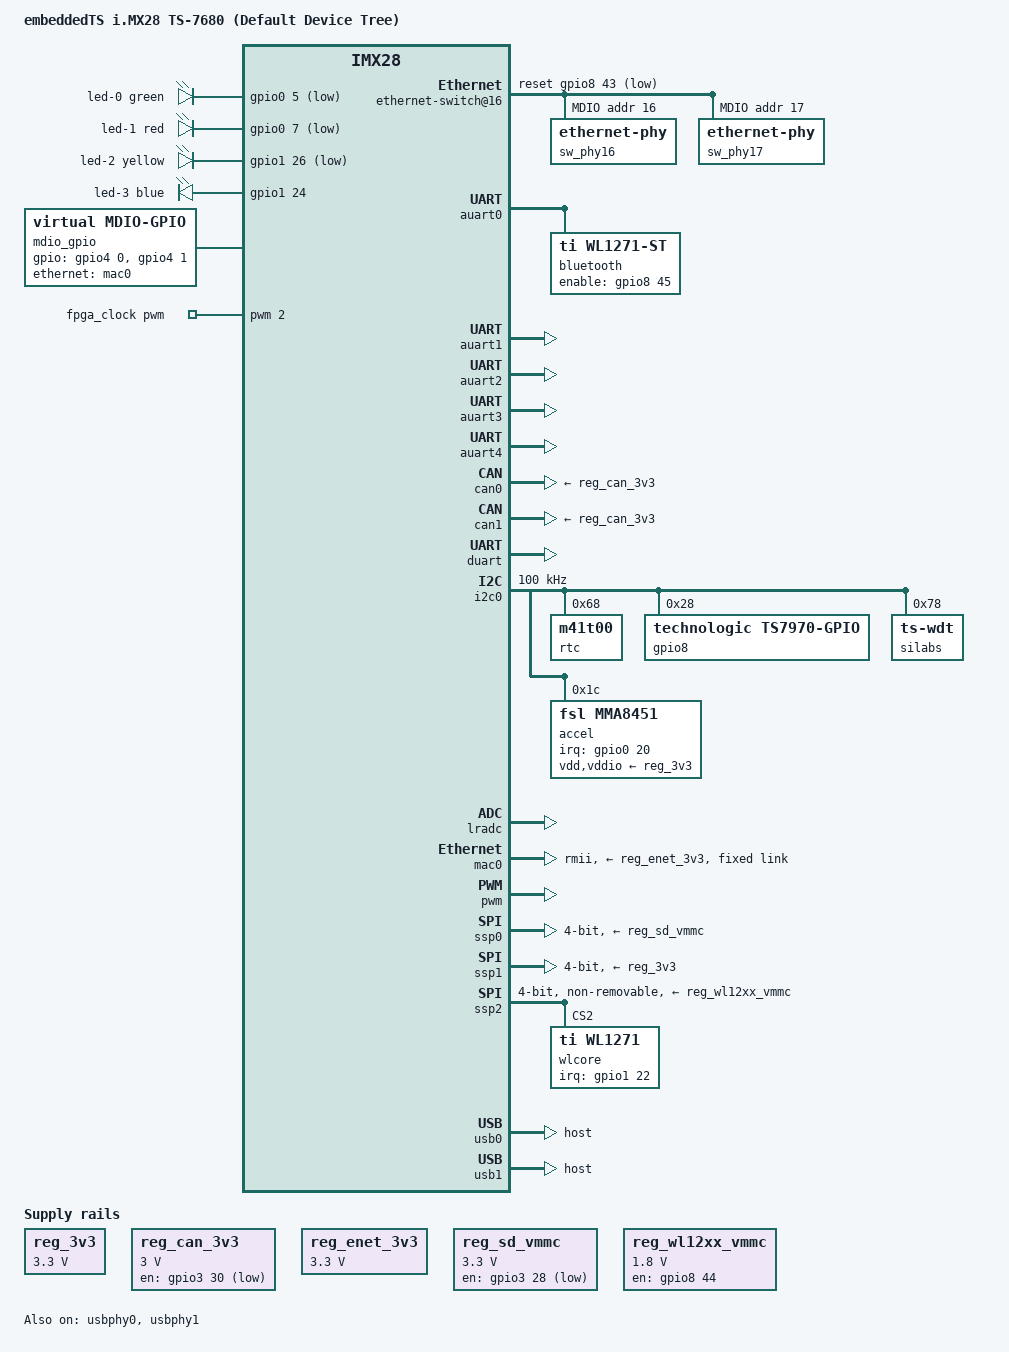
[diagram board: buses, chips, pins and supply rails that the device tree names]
// SPDX-License-Identifier: GPL-2.0 OR X11
/*
 * Copyright (C) 2024 Technologic Systems, Inc. dba embeddedTS
 */

/dts-v1/;
#include <dt-bindings/interrupt-controller/irq.h>
#include <dt-bindings/input/input.h>
#include <dt-bindings/leds/common.h>
#include "imx28.dtsi"


/ {

	model = "embeddedTS i.MX28 TS-7680 (Default Device Tree)";
	compatible = "fsl,imx28-ts7680", "fsl,imx28";

	aliases {
		mmc0 = &ssp0;
		mmc2 = &ssp1;
		i2c0 = &i2c0;
		mdio-gpio0 = &mdio_gpio;
	};

	memory {
		reg = <0x40000000 0x0>; // Filled in by U-Boot
	};

	led-controller {
		compatible = "gpio-leds";
		pinctrl-names = "default";
		pinctrl-0 = <&pinctrl_gpio_leds>;


		led-0 {
			color = <LED_COLOR_ID_GREEN>;
			function = LED_FUNCTION_POWER;
			gpios = <&gpio0 5 GPIO_ACTIVE_LOW>;
			default-state = "on";
		};

		led-1 {
			color = <LED_COLOR_ID_RED>;
			function = LED_FUNCTION_STATUS;
			gpios = <&gpio0 7 GPIO_ACTIVE_LOW>;
			default-state = "off";
		};

		led-2 {
			color = <LED_COLOR_ID_YELLOW>;
			function = LED_FUNCTION_INDICATOR;
			gpios = <&gpio1 26 GPIO_ACTIVE_LOW>;
			default-state = "off";
		};

		led-3 {
			color = <LED_COLOR_ID_BLUE>;
			function = LED_FUNCTION_INDICATOR;
			gpios = <&gpio1 24 GPIO_ACTIVE_HIGH>;
			default-state = "off";
		};

	};

	reg_3v3: regulator-3v3 {
		compatible = "regulator-fixed";
		regulator-name = "3V3";
		regulator-min-microvolt = <3300000>;
		regulator-max-microvolt = <3300000>;
		regulator-always-on;
	};

	reg_can_3v3: regulator-can-en@0 {
		compatible = "regulator-fixed";
		regulator-name = "CAN_EN";
		regulator-min-microvolt = <3000000>;
		regulator-max-microvolt = <3000000>;
		gpio = <&gpio3 30 GPIO_ACTIVE_LOW>;
	};

	reg_enet_3v3: regulator-enet-3v3 {
		compatible = "regulator-fixed";
		regulator-name = "ENET_3V3";
		regulator-min-microvolt = <3300000>;
		regulator-max-microvolt = <3300000>;
		regulator-always-on;
		regulator-boot-on;
	};

	reg_sd_vmmc: regulator-sd-vmmc {
		compatible = "regulator-fixed";
		pinctrl-names = "default";
		pinctrl-0 = <&pinctrl_sd_vmmc>;
		regulator-name = "SD_VMMC";
		regulator-min-microvolt = <3300000>;
		regulator-max-microvolt = <3300000>;
		gpio = <&gpio3 28 GPIO_ACTIVE_LOW>;
	};

	reg_wl12xx_vmmc: regulator-wl12xx-en {
		compatible = "regulator-fixed";
		regulator-name = "WLAN_EN";
		regulator-min-microvolt = <1800000>;
		regulator-max-microvolt = <1800000>;
		gpio = <&gpio8 44 GPIO_ACTIVE_HIGH>;
		startup-delay-us = <70000>;
		enable-active-high;
	};

	mdio_gpio: mdio-gpio {
		compatible = "virtual,mdio-gpio";
		pinctrl-names = "default";
		pinctrl-0 = <&pinctrl_mac0_mdio_gpio>;
		gpios = <&gpio4 0 GPIO_ACTIVE_HIGH>, /* mdc */
			<&gpio4 1 GPIO_ACTIVE_HIGH>; /* mdio */

		#address-cells = <1>;
		#size-cells = <0>;

		ethernet-switch@16 {
			compatible = "marvell,mv88e6250"; /* mv88e6020 */
			reset-gpios = <&gpio8 43 GPIO_ACTIVE_LOW>;
			reset-assert-us = <22000>;
			reset-deassert-us = <30000>;
			switch-needs-reset;
			clocks = <&clks 64>;
			clock-names = "switch";
			reg = <16>;
			dsa,member = <0 0>;

			mdio {
				#address-cells = <1>;
				#size-cells = <0>;

				sw_phy16: ethernet-phy@16 {
					reg = <16>;
				};

				sw_phy17: ethernet-phy@17 {
					reg = <17>;
				};
			};

			ethernet-ports {
				#address-cells = <1>;
				#size-cells = <0>;

				ethernet-port@0 {
					reg = <0>;
					label = "lan0";
					phy-handle = <&sw_phy16>;
					phy-mode = "internal";
				};

				ethernet-port@1 {
					reg = <1>;
					label = "lan1";
					phy-handle = <&sw_phy17>;
					phy-mode = "internal";
				};

				ethernet-port@5 {
					reg = <5>;
					label = "cpu";
					ethernet = <&mac0>;

					fixed-link {
						speed = <100>;
						full-duplex;
					};
				};
			};
		};
	};

	fpga_clock {
		/* Note that for this to work, modifications to clk-pwm and
		 * pwm-mxs must be in place to prevent the clock from resetting
		 * at any point, as well as to fix a math error when running the
		 * PWM at 12 MHz, which is its uppper limit.
		 */
		compatible = "pwm-clock";
		#clock-cells = <0>;
		clock-frequency = <12000000>;
		clock-output-names = "fpga_12mhz";
                pwms = <&pwm 2 83>; // 1 / 83 ns = 12ish MHz
        };
};

&auart0 {
	pinctrl-names = "default";
	pinctrl-0 = <&auart0_pins_a>;
	status = "okay";

	bluetooth {
		compatible = "ti,wl1271-st";
		enable-gpios = <&gpio8 45 GPIO_ACTIVE_HIGH>;
	};
};

&auart1 {
	pinctrl-names = "default";
	pinctrl-0 = <&auart1_2pins_a>;
	status = "okay";
};

&auart2 {
	pinctrl-names = "default";
	pinctrl-0 = <&pinctrl_auart2>;
	status = "okay";
};

&auart3 {
	pinctrl-names = "default";
	pinctrl-0 = <&pinctrl_auart3>;
	status = "okay";
};

&auart4 {
	pinctrl-names = "default";
	pinctrl-0 = <&pinctrl_auart4>;
	status = "okay";
};

&can0 {
	pinctrl-names = "default";
	pinctrl-0 = <&can0_pins_a>;
	xceiver-supply = <&reg_can_3v3>;
	status = "okay";
};

&can1 {
	pinctrl-names = "default";
	pinctrl-0 = <&can1_pins_a>;
	xceiver-supply = <&reg_can_3v3>;
	status = "okay";
};

&duart {
	pinctrl-names = "default";
	pinctrl-0 = <&duart_pins_a>;
	status = "okay";
};

&gpio1 {
	gpio-line-names = "", "", "", "", "", "", "", "HD1_14", "HD1_9", "HD1_7",
		"", "", "", "", "", "", "", "", "", "", "PSWITCH", "", "", "", "",
		"", "", "EN_HOST_USB_5V";
};

&gpio2 {
	gpio-line-names = "", "", "", "", "", "", "", "", "", "POWER_FAIL";
};

&gpio3 {
	gpio-line-names = "", "", "", "", "", "", "", "", "", "", "", "", "", "",
		"", "", "", "", "", "", "", "", "", "", "", "", "", "", "",
		"HD4_21";
};

&i2c0 {
	pinctrl-names = "default";
	pinctrl-0 = <&i2c0_pins_a>;
	clock-frequency = <100000>;
	status = "okay";

	rtc: m41t00s@68 {
		compatible = "m41t00";
		reg = <0x68>;
	};

	gpio8: ts7680gpio@28 {
		compatible = "technologic,ts7970-gpio";
		ngpios = <64>;
		base = <192>;
		reg = <0x28>;
		#gpio-cells = <2>;
		gpio-controller;

		gpio-line-names = "HD4_22", "HD4_23", "HD4_24", "HD4_25", "HD4_26",
			"HD4_27", "HD4_28", "HD4_29", "HD4_30", "HD4_31", "HD4_32",
			"HD4_33", "HD4_34", "HD4_35", "", "HD4_13/T_4 LS Out",
			"HD4_11/T_5 LS Out", "HD4_9/T_6 LS Out", "RELAY1", "RELAY2",
			"", "", "", "", "", "", "", "", "", "", "", "", "", "", "",
			"AD0_PU#", "AD1_PU#", "AD2_PU#", "AD3_PU#", "AD01_CL",
			"AD23_CL", "EN_DC_5V";
	};

	silabs: silabs@78 {
		compatible = "ts-wdt";
		reg = <0x78>;
		timeout-sec = <500>;
		enable-early;
	};

	accel: mma8451@1c {
		compatible = "fsl,mma8451";
		reg = <0x1c>;
		position = <0>;
		vdd-supply = <&reg_3v3>;
		vddio-supply = <&reg_3v3>;
		interrupt-parent = <&gpio0>;
		interrupts = <20 6>;
		interrupt-route = <1>;
	};
};

&lradc {
	status = "okay";
};

&mac0 {
	phy-mode = "rmii";
	pinctrl-names = "default";
	pinctrl-0 = <&pinctrl_mac0>;
	phy-supply = <&reg_enet_3v3>;
	status = "okay";

	fixed-link {
		speed = <100>;
		full-duplex;
	};
};

&pinctrl {
	pinctrl-names = "default";
	pinctrl-0 = <&pinctrl_hog>;

	pinctrl_hog: hoggrp {
		reg = <0>;
		fsl,pinmux-ids = <
		  //USB 5V EN
		  MX28_PAD_LCD_CS__GPIO_1_27
		>;
		fsl,drive-strength = <MXS_DRIVE_4mA>;
		fsl,voltage = <MXS_VOLTAGE_HIGH>;
		fsl,pull-up = <MXS_PULL_ENABLE>;
	};

	pinctrl_auart2: auart2grp {
		reg = <0>;
		fsl,pinmux-ids = <
		  MX28_PAD_SSP2_SCK__AUART2_RX
		  MX28_PAD_SSP2_MOSI__AUART2_TX
		>;
		fsl,drive-strength = <MXS_DRIVE_4mA>;
		fsl,voltage = <MXS_VOLTAGE_HIGH>;
		fsl,pull-up = <MXS_PULL_DISABLE>;
	};

	pinctrl_auart3: auart3grp {
		reg = <0>;
		fsl,pinmux-ids = <
		  MX28_PAD_SSP2_MISO__AUART3_RX
		  MX28_PAD_SSP2_SS0__AUART3_TX
		>;
		fsl,drive-strength = <MXS_DRIVE_4mA>;
		fsl,voltage = <MXS_VOLTAGE_HIGH>;
		fsl,pull-up = <MXS_PULL_DISABLE>;
	};

	pinctrl_auart4: auart4grp {
		reg = <0>;
		fsl,pinmux-ids = <
		  MX28_PAD_SAIF0_BITCLK__AUART4_RX
		  MX28_PAD_SAIF0_SDATA0__AUART4_TX
		>;
		fsl,drive-strength = <MXS_DRIVE_4mA>;
		fsl,voltage = <MXS_VOLTAGE_HIGH>;
		fsl,pull-up = <MXS_PULL_DISABLE>;
	};

	pinctrl_flexcan_3v3: en-cangrp {
		reg = <0>;
		fsl,pinmux-ids = <
		  MX28_PAD_LCD_RESET__GPIO_3_30
		>;
		fsl,drive-strength = <MXS_DRIVE_4mA>;
		fsl,voltage = <MXS_VOLTAGE_HIGH>;
		fsl,pull-up = <MXS_PULL_ENABLE>;
	};

	pinctrl_gpio_leds: gpio-ledgrp {
		reg = <0>;
		fsl,pinmux-ids = <
		  MX28_PAD_GPMI_D05__GPIO_0_5
		  MX28_PAD_GPMI_D07__GPIO_0_7
		  MX28_PAD_LCD_RS__GPIO_1_26
		  MX28_PAD_LCD_RD_E__GPIO_1_24
		>;
		fsl,drive-strength = <MXS_DRIVE_12mA>;
		fsl,voltage = <MXS_VOLTAGE_HIGH>;
		fsl,pull-up = <MXS_PULL_DISABLE>;
	};

	pinctrl_mac0: mac0grp {
		reg = <0>;
		fsl,pinmux-ids = <
		   MX28_PAD_ENET0_RX_EN__ENET0_RX_EN
		   MX28_PAD_ENET0_RXD0__ENET0_RXD0
		   MX28_PAD_ENET0_RXD1__ENET0_RXD1
		   MX28_PAD_ENET0_TX_EN__ENET0_TX_EN
		   MX28_PAD_ENET0_TXD0__ENET0_TXD0
		   MX28_PAD_ENET0_TXD1__ENET0_TXD1
		   MX28_PAD_ENET_CLK__CLKCTRL_ENET
		>;
		fsl,drive-strength = <MXS_DRIVE_8mA>;
		fsl,voltage = <MXS_VOLTAGE_HIGH>;
		fsl,pull-up = <MXS_PULL_ENABLE>;
	};

	pinctrl_mac0_mdio_gpio: mac0-mdiogrp {
		reg = <0>;
		fsl,pinmux-ids = <
		   MX28_PAD_ENET0_MDC__GPIO_4_0
		   MX28_PAD_ENET0_MDIO__GPIO_4_1
		 >;
		 fsl,drive-strength = <MXS_DRIVE_8mA>;
		 fsl,voltage = <MXS_VOLTAGE_HIGH>;
		 fsp,pull-up = <MXS_PULL_ENABLE>;
	};

	pinctrl_mmc0_4bit: mmc0-4bitgrp {
		reg = <0>;
		fsl,pinmux-ids = <
		  MX28_PAD_SSP0_DATA0__SSP0_D0
		  MX28_PAD_SSP0_DATA1__SSP0_D1
		  MX28_PAD_SSP0_DATA2__SSP0_D2
		  MX28_PAD_SSP0_DATA3__SSP0_D3
		  MX28_PAD_SSP0_CMD__SSP0_CMD
		>;
		fsl,drive-strength = <MXS_DRIVE_8mA>;
		fsl,voltage = <MXS_VOLTAGE_HIGH>;
		fsl,pull-up = <MXS_PULL_ENABLE>;
	};

	pinctrl_mmc1_4bit: mmc1-4bitgrp {
		reg = <0>;
		fsl,pinmux-ids = <
		  MX28_PAD_GPMI_RDY1__SSP1_CMD
		  MX28_PAD_GPMI_D00__SSP1_D0
		  MX28_PAD_GPMI_D01__SSP1_D1
		  MX28_PAD_GPMI_D02__SSP1_D2
		  MX28_PAD_GPMI_D03__SSP1_D3
		>;
		fsl,drive-strength = <MXS_DRIVE_8mA>;
		fsl,voltage = <MXS_VOLTAGE_HIGH>;
		fsl,pull-up = <MXS_PULL_ENABLE>;
	};

	pinctrl_mmc2_4bit: mmc2-4bitgrp {
		reg = <0>;
		fsl,pinmux-ids = <
		  MX28_PAD_SSP0_DATA4__SSP2_D0
		  MX28_PAD_SSP2_SS1__SSP2_D1
		  MX28_PAD_SSP2_SS2__SSP2_D2
		  MX28_PAD_SSP0_DATA5__SSP2_D3
		  MX28_PAD_SSP0_DATA6__SSP2_CMD
		  MX28_PAD_LCD_D22__GPIO_1_22
		>;
		fsl,drive-strength = <MXS_DRIVE_8mA>;
		fsl,voltage = <MXS_VOLTAGE_LOW>;
		fsl,pull-up = <MXS_PULL_ENABLE>;
	};

	pinctrl_mmc2_sck: mmc2-sckgrp {
		reg = <0>;
		fsl,pinmux-ids = <
		  MX28_PAD_SSP0_DATA7__SSP2_SCK
		>;
		fsl,drive-strength = <MXS_DRIVE_12mA>;
		fsl,voltage = <MXS_VOLTAGE_LOW>;
		fsl,pull-up = <MXS_PULL_DISABLE>;
	};

	pinctrl_sd_vmmc: sd-vmmcgrp {
		reg = <0>;
		fsl,pinmux-ids = <
		  MX28_PAD_PWM3__GPIO_3_28
		>;
		fsl,drive-strength = <MXS_DRIVE_4mA>;
		fsl,voltage = <MXS_VOLTAGE_HIGH>;
		fsl,pull-up = <MXS_PULL_ENABLE>;
	};
};

&pwm {
	pinctrl-names = "default";
	pinctrl-0 = <&pwm2_pins_a>;
	status = "okay";
};

&ssp0 {
	compatible = "fsl,imx28-mmc";
	pinctrl-names = "default";
	pinctrl-0 = <&pinctrl_mmc0_4bit
		     &mmc0_sck_cfg>; /* in DTSI */
	bus-width = <4>;
	broken-cd;
	disable-wp;
	vmmc-supply = <&reg_sd_vmmc>;
	status = "okay";
};

&ssp1 {
	compatible = "fsl,imx28-mmc";
	pinctrl-names = "default";
	pinctrl-0 = <&pinctrl_mmc1_4bit
		     &mmc1_sck_cfg>; /* in DTSI */
	bus-width = <4>;
	broken-cd;
	disable-wp;
	vmmc-supply = <&reg_3v3>;
	status = "okay";
};

&ssp2 {
	compatible = "fsl,imx28-mmc";
	pinctrl-names = "default";
	pinctrl-0 = <&pinctrl_mmc2_4bit
	             &pinctrl_mmc2_sck>;
	vmmc-supply = <&reg_wl12xx_vmmc>;
	bus-width = <4>;
	non-removable;
	cap-power-off-card;
	status = "okay";

	wlcore: wlcore@2 {
		compatible = "ti,wl1271";
		reg = <2>;
		interrupt-parent = <&gpio1>;
		interrupts = <22 IRQ_TYPE_EDGE_RISING>;
		ref-clock-frequency = <38400000>;
	};
};

&usb0 {
	disable-over-current;
	dr_mode = "host";
	status = "okay";
};

&usb1 {
	disable-over-current;
	dr_mode = "host";
	status = "okay";
};

&usbphy0 {
	status = "okay";
};

&usbphy1 {
	status = "okay";
};
